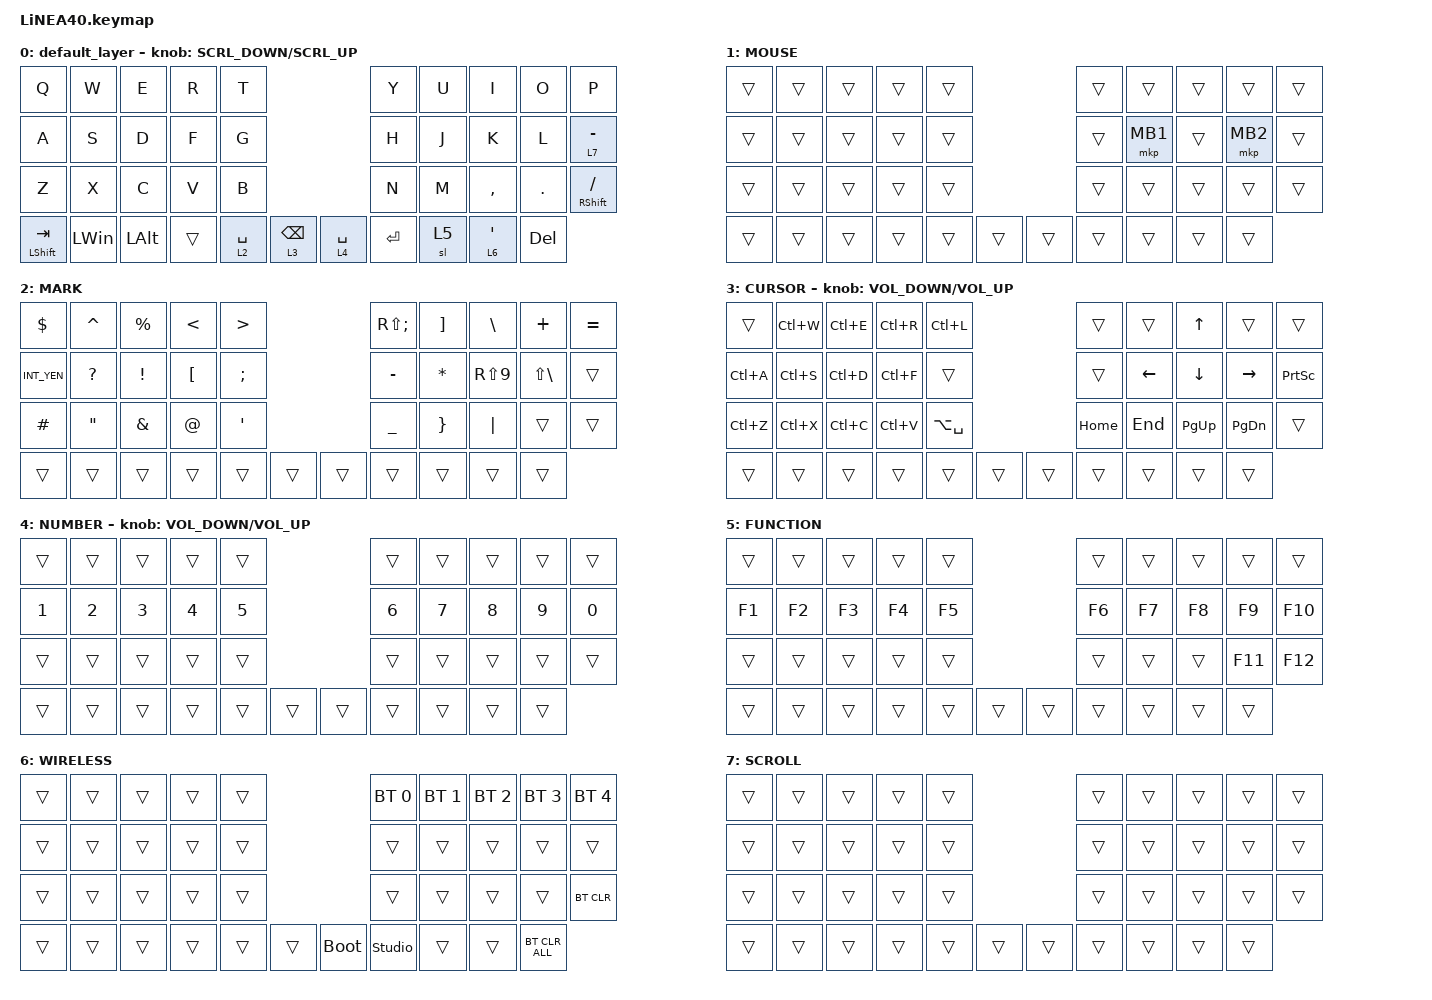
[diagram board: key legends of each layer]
#define ZMK_POINTING_DEFAULT_SCRL_VAL 150

#include <dt-bindings/zmk/input_transform.h>
#include <input/processors.dtsi>
#include <zephyr/dt-bindings/input/input-event-codes.h>
#include <behaviors.dtsi>
#include <dt-bindings/zmk/bt.h>
#include <dt-bindings/zmk/keys.h>
#include <dt-bindings/zmk/pointing.h>

#define MOUSE 1
#define MARK 2
#define CURSOR 3
#define NUMBER 4
#define FUNCTION 5
#define WIRELESS 6
#define SCROLL 7

//mouse cursol

&mmv {
    delay-ms = <20>;
    trigger-period-ms = <5>;
    time-to-max-speed-ms = <100>;
    acceleration-exponent = <2>;
};

//mouse scroll

&msc {
    delay-ms = <3>;
    trigger-period-ms = <3>;
    time-to-max-speed-ms = <100>;
    acceleration-exponent = <0>;
};

/ {
    input_processors {
        zip_wheel_scaler: zip_wheel_scaler {
            compatible = "zmk,input-processor-scaler";
            #input-processor-cells = <2>;
            type = <INPUT_EV_REL>;
            codes = <INPUT_REL_WHEEL>;
            track-remainders;
        };
    };
};

&msc_input_listener {
    speed_up {
        layers = <NUMBER>;
        input-processors = <&zip_wheel_scaler 3 1>; //スクロールを3倍速にする
    };
};

&trackball_listener {
    scroller {
        layers = <SCROLL>;
        input-processors =
            <&zip_xy_transform INPUT_TRANSFORM_Y_INVERT>,
            //スクロール方向を逆転,,,,,,,,,,,,,,,,,,,,,,,,,,,,,,,,,,,,,,,,,,,,,,,,,,,,,,,
            <&zip_xy_to_scroll_mapper>;
    };
};

/ {
    combos {
        compatible = "zmk,combos";

        DeleteKey {
            bindings = <&kp DEL>;
            key-positions = <7 8>;
        };

        InsertKey {
            bindings = <&kp INS>;
            key-positions = <6 5>;
        };

        LeftClick {
            bindings = <&mkp MB1>;
            key-positions = <17 16>;
        };

        RightClick {
            bindings = <&mkp MB2>;
            key-positions = <18 17>;
        };

        PrevClick {
            bindings = <&mkp MB4>;
            key-positions = <27 26>;
        };

        ClickNext {
            bindings = <&mkp MB5>;
            key-positions = <27 28>;
        };

        Escape {
            bindings = <&kp ESCAPE>;
            key-positions = <1 0>;
        };

        Backspace {
            bindings = <&kp BACKSPACE>;
            key-positions = <6 7>;
        };

        kananyuryoku {
            bindings = <&kp GRAVE>;
            key-positions = <11 12>;
        };

        muhenkan {
            bindings = <&kp INTERNATIONAL_5>;
            key-positions = <13 14>;
        };

        henkan {
            bindings = <&kp INT4>;
            key-positions = <15 16>;
        };
    };

    behaviors {
        re_kp: sensor_rotate_kp {
            compatible = "zmk,behavior-sensor-rotate-var";
            #sensor-binding-cells = <2>;
            bindings = <&kp>, <&kp>;
        };

        mouse_scrl: mouse_wheel_scrl {
            compatible = "zmk,behavior-sensor-rotate-var";
            #sensor-binding-cells = <2>;
            bindings = <&msc>, <&msc>;

            tap-ms = <20>;
        };
    };

    keymap {
        compatible = "zmk,keymap";

        default_layer {
            bindings = <
&kp Q               &kp W         &kp E         &kp R   &kp T                                        &kp Y      &kp U  &kp I      &kp O               &kp P
&kp A               &kp S         &kp D         &kp F   &kp G                                        &kp H      &kp J  &kp K      &kp L               &lt 7 MINUS
&kp Z               &kp X         &kp C         &kp V   &kp B                                        &kp N      &kp M  &kp COMMA  &kp DOT             &mt RIGHT_SHIFT SLASH
&mt LEFT_SHIFT TAB  &kp LEFT_WIN  &kp LEFT_ALT  &trans  &lt 2 SPACE  &lt 3 BACKSPACE    &lt 4 SPACE  &kp ENTER         &sl 5      &lt 6 SINGLE_QUOTE  &kp DELETE
            >;

            sensor-bindings = <&mouse_scrl SCRL_DOWN SCRL_UP>;
        };

        MOUSE {
            bindings = <
&trans  &trans  &trans  &trans  &trans                    &trans  &trans    &trans  &trans    &trans
&trans  &trans  &trans  &trans  &trans                    &trans  &mkp MB1  &trans  &mkp MB2  &trans
&trans  &trans  &trans  &trans  &trans                    &trans  &trans    &trans  &trans    &trans
&trans  &trans  &trans  &trans  &trans  &trans    &trans  &trans            &trans  &trans    &trans
            >;
        };

        MARK {
            bindings = <
&kp DOLLAR   &kp CARET          &kp PERCENT    &kp LT            &kp GREATER_THAN                    &kp RS(SEMI)  &kp RIGHT_BRACKET  &kp BACKSLASH  &kp PLUS           &kp EQUAL
&kp INT_YEN  &kp QUESTION       &kp EXCL       &kp LEFT_BRACKET  &kp SEMI                            &kp MINUS     &kp ASTRK          &kp RS(N9)     &kp LS(BACKSLASH)  &trans
&kp HASH     &kp DOUBLE_QUOTES  &kp AMPERSAND  &kp AT            &kp SINGLE_QUOTE                    &kp UNDER     &kp RIGHT_BRACE    &kp PIPE       &trans             &trans
&trans       &trans             &trans         &trans            &trans            &trans    &trans  &trans                           &trans         &trans             &trans
            >;
        };

        CURSOR {
            bindings = <
&trans     &kp LC(W)  &kp LC(E)  &kp LC(R)  &kp LC(L)                        &trans    &trans    &kp UP_ARROW    &trans           &trans
&kp LC(A)  &kp LC(S)  &kp LC(D)  &kp LC(F)  &trans                           &trans    &kp LEFT  &kp DOWN_ARROW  &kp RIGHT_ARROW  &kp PRINTSCREEN
&kp LC(Z)  &kp LC(X)  &kp LC(C)  &kp LC(V)  &kp LA(SPACE)                    &kp HOME  &kp END   &kp PAGE_UP     &kp PAGE_DOWN    &trans
&trans     &trans     &trans     &trans     &trans         &trans    &trans  &trans              &trans          &trans           &trans
            >;

            sensor-bindings = <&inc_dec_kp C_VOLUME_DOWN C_VOLUME_UP>;
        };

        NUMBER {
            bindings = <
&trans        &trans        &trans        &trans        &trans                          &trans        &trans        &trans        &trans        &trans
&kp NUMBER_1  &kp NUMBER_2  &kp NUMBER_3  &kp NUMBER_4  &kp NUMBER_5                    &kp NUMBER_6  &kp NUMBER_7  &kp NUMBER_8  &kp NUMBER_9  &kp NUMBER_0
&trans        &trans        &trans        &trans        &trans                          &trans        &trans        &trans        &trans        &trans
&trans        &trans        &trans        &trans        &trans        &trans    &trans  &trans                      &trans        &trans        &trans
            >;

            sensor-bindings = <&inc_dec_kp C_VOLUME_DOWN C_VOLUME_UP>;
        };

        FUNCTION {
            bindings = <
&trans  &trans  &trans  &trans  &trans                    &trans  &trans  &trans  &trans   &trans
&kp F1  &kp F2  &kp F3  &kp F4  &kp F5                    &kp F6  &kp F7  &kp F8  &kp F9   &kp F10
&trans  &trans  &trans  &trans  &trans                    &trans  &trans  &trans  &kp F11  &kp F12
&trans  &trans  &trans  &trans  &trans  &trans    &trans  &trans          &trans  &trans   &trans
            >;
        };

        WIRELESS {
            bindings = <
&trans  &trans  &trans  &trans  &trans                         &bt BT_SEL 0    &bt BT_SEL 1  &bt BT_SEL 2  &bt BT_SEL 3  &bt BT_SEL 4
&trans  &trans  &trans  &trans  &trans                         &trans          &trans        &trans        &trans        &trans
&trans  &trans  &trans  &trans  &trans                         &trans          &trans        &trans        &trans        &bt BT_CLR
&trans  &trans  &trans  &trans  &trans  &trans    &bootloader  &studio_unlock                &trans        &trans        &bt BT_CLR_ALL
            >;
        };

        SCROLL {
            bindings = <
&trans  &trans  &trans  &trans  &trans                    &trans  &trans  &trans  &trans  &trans
&trans  &trans  &trans  &trans  &trans                    &trans  &trans  &trans  &trans  &trans
&trans  &trans  &trans  &trans  &trans                    &trans  &trans  &trans  &trans  &trans
&trans  &trans  &trans  &trans  &trans  &trans    &trans  &trans          &trans  &trans  &trans
            >;
        };
    };
};
